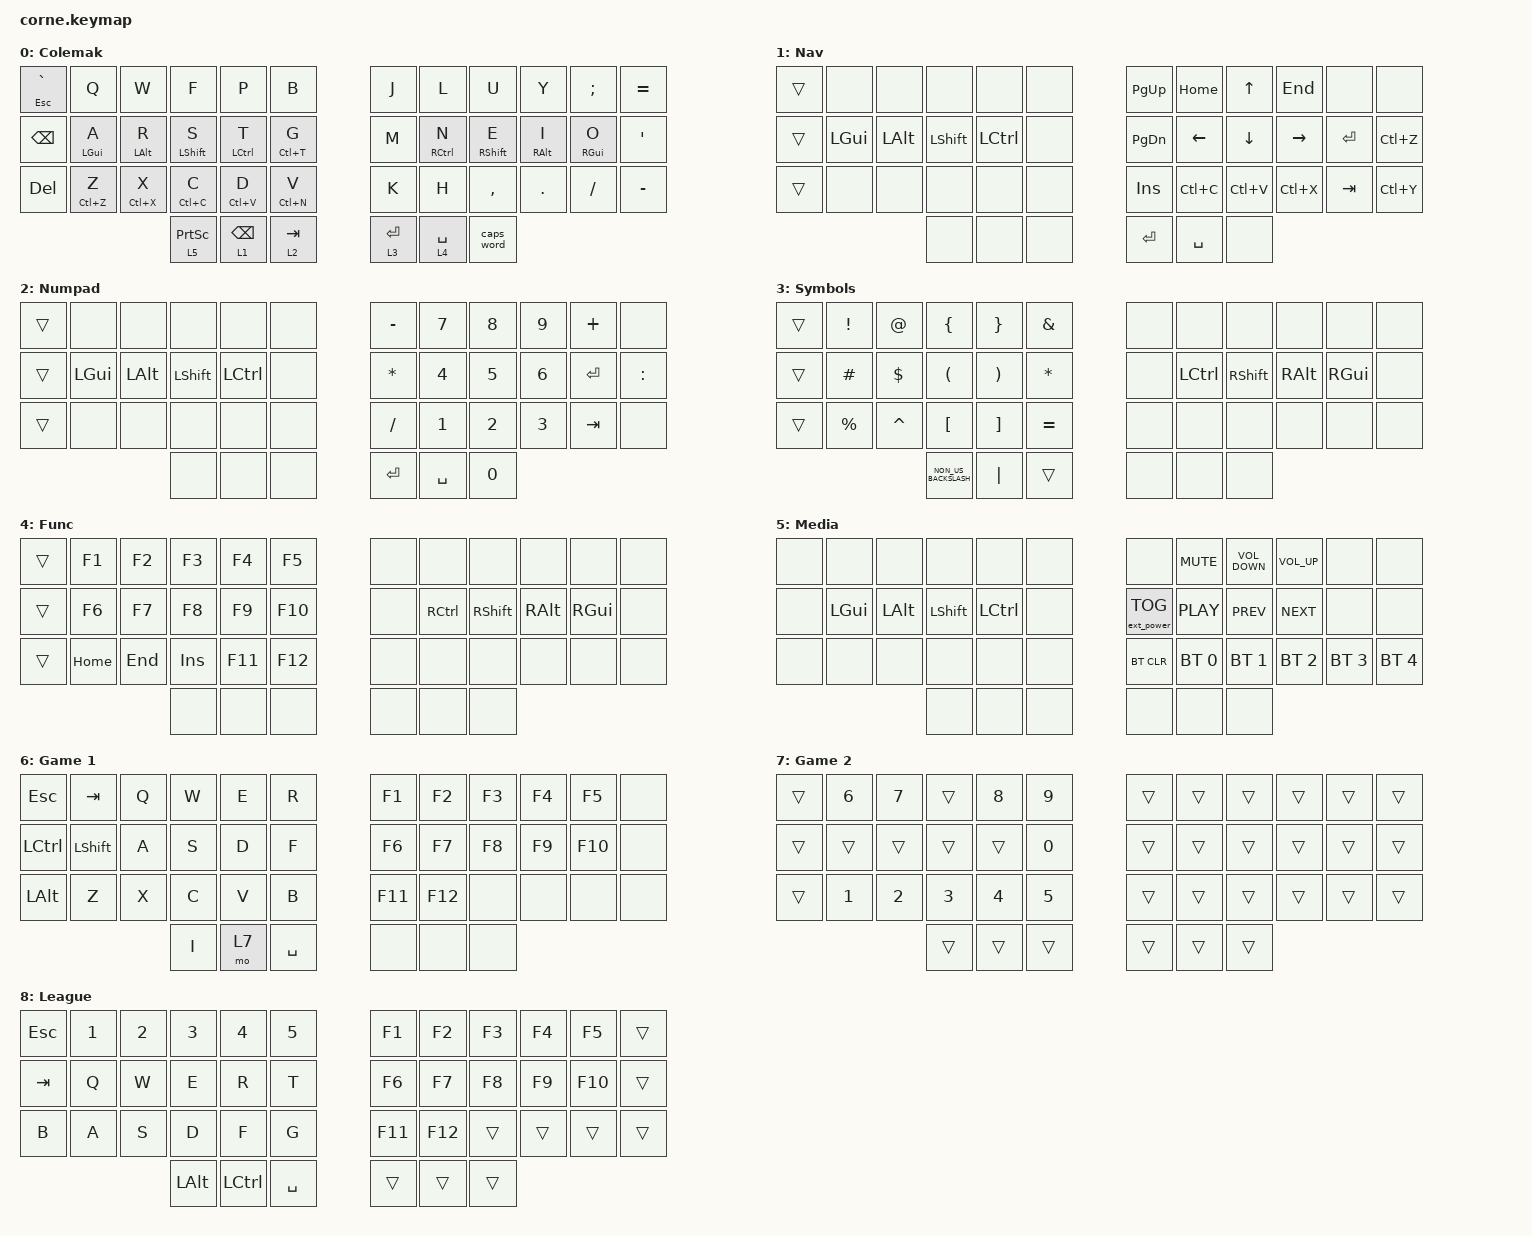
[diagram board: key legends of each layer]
/*
 * Copyright (c) 2020 The ZMK Contributors
 *
 * SPDX-License-Identifier: MIT
 */

#define ZMK_POINTING_DEFAULT_MOVE_VAL 1300
#define ZMK_POINTING_DEFAULT_SCRL_VAL 18

#include <behaviors.dtsi>
#include <dt-bindings/zmk/bt.h>
#include <dt-bindings/zmk/ext_power.h>
#include <dt-bindings/zmk/keys.h>

&caps_word {
    mods = <(MOD_LSFT)>;
    continue-list = <UNDERSCORE BACKSPACE DELETE MINUS>;
};

&mt { flavor = "tap-preferred"; };

/ {
    combos {
        compatible = "zmk,combos";

        enter {
            bindings = <&kp ENTER>;
            key-positions = <37 29>;
        };

        num-period {
            bindings = <&kp PERIOD>;
            key-positions = <31 32>;
            layers = <2>;
        };

        num-comma {
            bindings = <&kp COMMA>;
            key-positions = <32 33>;
            layers = <2>;
        };

        GamingLayer {
            bindings = <&to 6>;
            key-positions = <2 3 4>;
            layers = <0>;
        };

        GameToColmak {
            bindings = <&to 0>;
            key-positions = <2 3 4>;
            layers = <6>;
        };

        ToLeague {
            bindings = <&to 8>;
            key-positions = <7 8 9>;
            layers = <0>;
        };

        LeagueToColmak {
            bindings = <&to 0>;
            key-positions = <7 8 9>;
            layers = <8>;
        };
    };

    macros {
        prmc: parentheses {
            compatible = "zmk,behavior-macro";
            #binding-cells = <0>;
            bindings = <&kp LEFT_PARENTHESIS &kp RIGHT_PARENTHESIS &kp LEFT>;
            label = "PARENTHESES";
        };

        bkmc: pbk {
            compatible = "zmk,behavior-macro";
            #binding-cells = <0>;
            bindings = <&kp LEFT_BRACKET &kp RIGHT_BRACKET &kp LEFT>;
            label = "PBK";
        };

        bcmc: bcmc {
            compatible = "zmk,behavior-macro";
            #binding-cells = <0>;
            bindings = <&kp LEFT_BRACE &kp RIGHT_BRACE &kp LEFT>;
            label = "BCMC";
        };
    };

    keymap {
        compatible = "zmk,keymap";

        Colemak {
            // -----------------------------------------------------------------------------------------
            // |  TAB |  Q  |  W  |  E  |  R  |  T  |   |  Y  |  U   |  I  |  O  |  P  | BKSP |
            // | CTRL |  A  |  S  |  D  |  F  |  G  |   |  H  |  J   |  K  |  L  |  ;  |  '   |
            // | SHFT |  Z  |  X  |  C  |  V  |  B  |   |  N  |  M   |  ,  |  .  |  /  | ESC  |
            //                    | GUI | LWR | SPC |   | ENT | RSE  | ALT |

            display-name = "Colemak";
            bindings = <
&mt ESCAPE GRAVE  &kp Q           &kp W           &kp F              &kp P            &kp B          &kp J        &kp L        &kp U              &kp Y            &kp SEMI         &kp EQUAL
&kp BACKSPACE     &mt LEFT_GUI A  &mt LEFT_ALT R  &mt LEFT_SHIFT S   &mt LCTRL T      &mt LC(T) G    &kp M        &mt RCTRL N  &mt RIGHT_SHIFT E  &mt RIGHT_ALT I  &mt RIGHT_GUI O  &kp SQT
&kp DELETE        &mt LC(Z) Z     &mt LC(X) X     &mt LC(C) C        &mt LC(V) D      &mt LC(N) V    &kp K        &kp H        &kp COMMA          &kp DOT          &kp FSLH         &kp MINUS
                                                  &lt 5 PRINTSCREEN  &lt 1 BACKSPACE  &lt 2 TAB      &lt 3 ENTER  &lt 4 SPACE  &caps_word
            >;

            label = "Colemak";
        };

        Navigation {
            bindings = <
&trans  &none     &none         &none       &none      &none    &kp PAGE_UP    &kp HOME   &kp UP_ARROW  &kp END    &none      &none
&trans  &kp LGUI  &kp LEFT_ALT  &kp LSHIFT  &kp LCTRL  &none    &kp PAGE_DOWN  &kp LEFT   &kp DOWN      &kp RIGHT  &kp ENTER  &kp LC(Z)
&trans  &none     &none         &none       &none      &none    &kp INS        &kp LC(C)  &kp LC(V)     &kp LC(X)  &kp TAB    &kp LC(Y)
                                &none       &none      &none    &kp ENTER      &kp SPACE  &none
            >;

            label = "Nav";
        };

        Numpad {
            // -----------------------------------------------------------------------------------------
            // |  TAB |  !  |  @  |  #  |  $  |  %  |   |  ^  |  &  |  *  |  (  |  )  | BKSP |
            // | CTRL |     |     |     |     |     |   |  -  |  =  |  [  |  ]  |  \  |  `   |
            // | SHFT |     |     |     |     |     |   |  _  |  +  |  {  |  }  | "|" |  ~   |
            //                    | GUI |     | SPC |   | ENT |     | ALT |

            display-name = "Numpad";
            bindings = <
&trans  &none         &none         &none           &none      &none    &kp MINUS  &kp NUMBER_7  &kp NUMBER_8  &kp NUMBER_9  &kp PLUS   &none
&trans  &kp LEFT_GUI  &kp LEFT_ALT  &kp LEFT_SHIFT  &kp LCTRL  &none    &kp ASTRK  &kp N4        &kp N5        &kp N6        &kp ENTER  &kp COLON
&trans  &none         &none         &none           &none      &none    &kp SLASH  &kp NUMBER_1  &kp NUMBER_2  &kp NUMBER_3  &kp TAB    &none
                                    &none           &none      &none    &kp ENTER  &kp SPACE     &kp NUMBER_0
            >;

            label = "Numpad";
        };

        Symbols {
            bindings = <
&trans  &kp EXCLAMATION  &kp AT_SIGN  &kp LEFT_BRACE        &kp RIGHT_BRACE        &kp AMPERSAND    &none  &none      &none       &none          &none     &none
&trans  &kp HASH         &kp DOLLAR   &kp LEFT_PARENTHESIS  &kp RIGHT_PARENTHESIS  &kp ASTERISK     &none  &kp LCTRL  &kp RSHIFT  &kp RIGHT_ALT  &kp RGUI  &none
&trans  &kp PERCENT      &kp CARET    &kp LEFT_BRACKET      &kp RIGHT_BRACKET      &kp EQUAL        &none  &none      &none       &none          &none     &none
                                      &kp NON_US_BACKSLASH  &kp PIPE               &trans           &none  &none      &none
            >;

            label = "Symbols";
        };

        Function {
            bindings = <
&trans  &kp F1    &kp F2   &kp F3   &kp F4   &kp F5     &none  &none      &none            &none          &none     &none
&trans  &kp F6    &kp F7   &kp F8   &kp F9   &kp F10    &none  &kp RCTRL  &kp RIGHT_SHIFT  &kp RIGHT_ALT  &kp RGUI  &none
&trans  &kp HOME  &kp END  &kp INS  &kp F11  &kp F12    &none  &none      &none            &none          &none     &none
                           &none    &none    &none      &none  &none      &none
            >;

            label = "Func";
        };

        Media {
            bindings = <
&none  &none     &none         &none       &none      &none    &none              &kp C_MUTE    &kp C_VOLUME_DOWN  &kp C_VOLUME_UP  &none         &none
&none  &kp LGUI  &kp LEFT_ALT  &kp LSHIFT  &kp LCTRL  &none    &ext_power EP_TOG  &kp C_PLAY    &kp C_PREV         &kp C_NEXT       &none         &none
&none  &none     &none         &none       &none      &none    &bt BT_CLR         &bt BT_SEL 0  &bt BT_SEL 1       &bt BT_SEL 2     &bt BT_SEL 3  &bt BT_SEL 4
                               &none       &none      &none    &none              &none         &none
            >;

            label = "Media";
        };

        Gaming_1 {
            bindings = <
&kp ESC       &kp TAB    &kp Q  &kp W  &kp E  &kp R        &kp F1   &kp F2   &kp F3  &kp F4  &kp F5   &none
&kp LCTRL     &kp LSHFT  &kp A  &kp S  &kp D  &kp F        &kp F6   &kp F7   &kp F8  &kp F9  &kp F10  &none
&kp LEFT_ALT  &kp Z      &kp X  &kp C  &kp V  &kp B        &kp F11  &kp F12  &none   &none   &none    &none
                                &kp I  &mo 7  &kp SPACE    &none    &none    &none
            >;

            label = "Game 1";
        };

        Gaming_2 {
            bindings = <
&trans  &kp N6  &kp N7  &trans  &kp N8  &kp N9    &trans  &trans  &trans  &trans  &trans  &trans
&trans  &trans  &trans  &trans  &trans  &kp N0    &trans  &trans  &trans  &trans  &trans  &trans
&trans  &kp N1  &kp N2  &kp N3  &kp N4  &kp N5    &trans  &trans  &trans  &trans  &trans  &trans
                        &trans  &trans  &trans    &trans  &trans  &trans
            >;

            label = "Game 2";
        };

        League {
            bindings = <
&kp ESC  &kp N1  &kp N2  &kp N3    &kp N4     &kp N5       &kp F1   &kp F2   &kp F3  &kp F4  &kp F5   &trans
&kp TAB  &kp Q   &kp W   &kp E     &kp R      &kp T        &kp F6   &kp F7   &kp F8  &kp F9  &kp F10  &trans
&kp B    &kp A   &kp S   &kp D     &kp F      &kp G        &kp F11  &kp F12  &trans  &trans  &trans   &trans
                         &kp LALT  &kp LCTRL  &kp SPACE    &trans   &trans   &trans
            >;

            label = "League";
        };
    };
};
